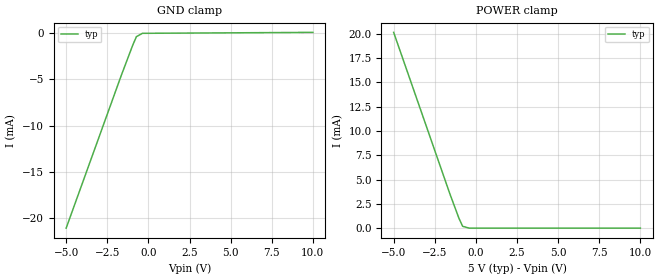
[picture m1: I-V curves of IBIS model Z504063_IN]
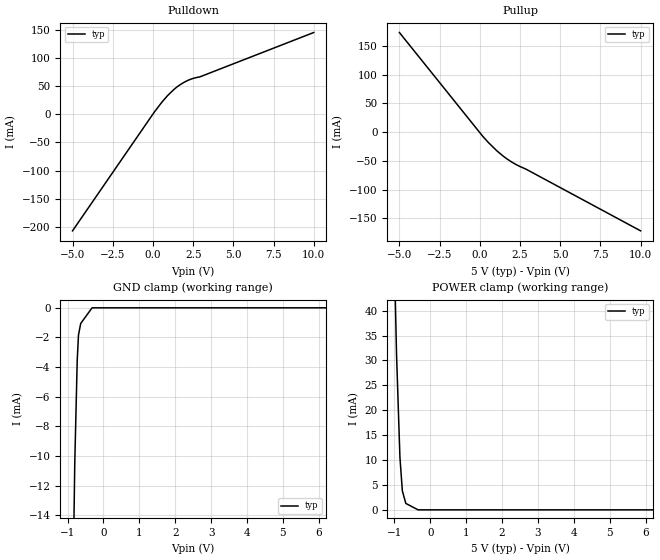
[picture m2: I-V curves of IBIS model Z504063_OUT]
| YOU ARE ONLY AUTHORIZED TO USE THIS SOFTWARE
| ACCORDING TO LICENSOR'S LICENSE RESTRICTIONS.
[IBIS Ver] 3.1
[File Name] mc54hc151j.ibs
[File Rev] 2.0
[Source] Measured and created by ICX Technology
[Date] Friday 7/14/00 9:08:06 AM
[Copyright]
| (C) COPYRIGHT 1993-2000
| MENTOR GRAPHICS CORPORATION
| ICX STANDARD LIBRARY, ICX PROJECT MODELING,
| ICX CUSTOM MODELING, ICX VENDOR MODEL
| ALL RIGHTS RESERVED.
| THE FOLLOWING ARE TRADEMARKS OR SERVICE MARKS OF
| MENTOR GRAPHICS CORPORATION:ICX (R), ICX STANDARD
| LIBRARY(R), ICX PROJECT MODELING(R), ICX CUSTOM
| MODELING(R), qualityIBIS(TM), MODELVIEWER(TM),
| AND MODELEDITOR(TM)
| ALL COPIES OF SOFTWARE, INCLUDING BUT NOT LIMITED TO
| ANY MODIFICATIONS, ENHANCEMENTS OR DERIVATIVE WORKS,
| MUST CONTAIN ALL MENTOR GRAPHICS CORPORATION'S
| NOTICES AND LEGENDS, INCLUDING THOSE EMBEDDED IN
| SOFTWARE AND THOSE AFFIXED TO SOFTWARE MEDIUM
| AND CONTAINER, AS RECEIVED FROM MENTOR GRAPHICS
| CORPORATION.
|  ZAP Model Builder 2.7
[Component] MC54HC151J
[Manufacturer] OnSemiconductor
[Package]
| variable   typ   min   max
R_pkg  .212ohms NA NA
L_pkg  4.758nH NA NA
C_pkg  1.944pF NA NA
[Pin] signal_name  model_name  R_pin  L_pin C_pin
1 D3 Z504063_IN .224 7.258n 2.683p
2 D2 Z504063_IN .216 5.258n 2.19p
3 D1 Z504063_IN .208 3.758n 1.697p
4 D0 Z504063_IN .2 2.758n 1.204p
5 Y Z504063_OUT .2 2.758n 1.204p
6 _Y Z504063_OUT .208 3.758n 1.697p
7 _G Z504063_IN .216 5.258n 2.19p
8 GND GND .224 7.258n 2.683p
9 C Z504063_IN .224 7.258n 2.683p
10 B Z504063_IN .216 5.258n 2.19p
11 A Z504063_IN .208 3.758n 1.697p
12 D7 Z504063_IN .2 2.758n 1.204p
13 D6 Z504063_IN .2 2.758n 1.204p
14 D5 Z504063_IN .208 3.758n 1.697p
15 D4 Z504063_IN .216 5.258n 2.19p
16 VCC POWER .224 7.258n 2.683p
| Models and submodels in the file (2): Z504063_IN (Input), Z504063_OUT (Output)
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| (C) COPYRIGHT 1993-2000
| MENTOR GRAPHICS CORPORATION
| ICX STANDARD LIBRARY, ICX PROJECT MODELING,
| ICX CUSTOM MODELING, ICX VENDOR MODEL
| ALL RIGHTS RESERVED.
| THE FOLLOWING ARE TRADEMARKS OR SERVICE MARKS OF
| MENTOR GRAPHICS CORPORATION:ICX (R), ICX STANDARD
| LIBRARY(R), ICX PROJECT MODELING(R), ICX CUSTOM
| MODELING(R), qualityIBIS(TM), MODELVIEWER(TM),
| AND MODELEDITOR(TM)
| ALL COPIES OF SOFTWARE, INCLUDING BUT NOT LIMITED TO
| ANY MODIFICATIONS, ENHANCEMENTS OR DERIVATIVE WORKS,
| MUST CONTAIN ALL MENTOR GRAPHICS CORPORATION'S
| NOTICES AND LEGENDS, INCLUDING THOSE EMBEDDED IN
| SOFTWARE AND THOSE AFFIXED TO SOFTWARE MEDIUM
| AND CONTAINER, AS RECEIVED FROM MENTOR GRAPHICS
| CORPORATION.
| Model Application Version 1.89 2/18/99.
[Model] Z504063_IN
Model_type Input
Vinl = 1.000V
Vinh = 3.500V
C_comp 4.000pF NA NA
| variable typ   min   max
[Voltage Range] 5.000V NA NA
[GND Clamp Reference] 0.000V NA NA
[POWER Clamp Reference] 5.000V NA NA
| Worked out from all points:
|   GND clamp passes 1 mA (typ) near -0.87 V on its own axis
|   POWER clamp passes 1 mA (typ) near -1.03 V on its own axis
[GND Clamp]
-5V       -21.09mA   NA         NA
-1.621V   -4.453mA   NA         NA
-936.7mV  -1.253mA   NA         NA
-726.5mV  -395.5uA   NA         NA
-363.2mV  -39.71uA   NA         NA
10V       63.15uA    NA         NA
[POWER Clamp]
-5V       20.16mA    NA         NA
-1.592V   3.579mA    NA         NA
-1.04V    1.055mA    NA         NA
-809mV    192.3uA    NA         NA
-404.5mV  0A         NA         NA
10V       0A         NA         NA
| (C) COPYRIGHT 1993-2000
| MENTOR GRAPHICS CORPORATION
| ICX STANDARD LIBRARY, ICX PROJECT MODELING,
| ICX CUSTOM MODELING, ICX VENDOR MODEL
| ALL RIGHTS RESERVED.
| THE FOLLOWING ARE TRADEMARKS OR SERVICE MARKS OF
| MENTOR GRAPHICS CORPORATION:ICX (R), ICX STANDARD
| LIBRARY(R), ICX PROJECT MODELING(R), ICX CUSTOM
| MODELING(R), qualityIBIS(TM), MODELVIEWER(TM),
| AND MODELEDITOR(TM)
| ALL COPIES OF SOFTWARE, INCLUDING BUT NOT LIMITED TO
| ANY MODIFICATIONS, ENHANCEMENTS OR DERIVATIVE WORKS,
| MUST CONTAIN ALL MENTOR GRAPHICS CORPORATION'S
| NOTICES AND LEGENDS, INCLUDING THOSE EMBEDDED IN
| SOFTWARE AND THOSE AFFIXED TO SOFTWARE MEDIUM
| AND CONTAINER, AS RECEIVED FROM MENTOR GRAPHICS
| CORPORATION.
| Model Application Version 1.89 2/18/99.
[Model] Z504063_OUT
Model_type Output
Vref=0.000V
Rref=500.0Mohms
Cref=50.00pF
Vmeas=2.500V
C_comp 8.000pF NA NA
| variable typ   min   max
[Voltage Range] 5.000V NA NA
[POWER Clamp Reference] 5.000V NA NA
[Pullup Reference] 5.000V NA NA
[Pulldown Reference] 0.000V NA NA
[GND Clamp Reference] 0.000V NA NA
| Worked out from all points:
|   slope of the pulldown table from 0 to 0.75 V, typ, clamps not added: 27.3 ohm
|   slope of the pullup table from 0 to 0.75 V, typ, clamps not added: 32.4 ohm
[GND Clamp]
-5V       -713.2mA   NA         NA
-800.7mV  -10.48mA   NA         NA
-732.5mV  -3.56mA    NA         NA
-697.6mV  -1.846mA   NA         NA
-635.3mV  -1.056mA   NA         NA
-317.6mV  0A         NA         NA
10V       0A         NA         NA
[Pulldown]
-5V       -207mA     NA         NA
83.01mV   3.476mA    NA         NA
566.4mV   21.51mA    NA         NA
1.316V    43.96mA    NA         NA
1.705V    52.36mA    NA         NA
2.314V    61.45mA    NA         NA
2.891V    65.73mA    NA         NA
10V       144.7mA    NA         NA
[Pullup]
-5V       173.4mA    NA         NA
176mV     -7.081mA   NA         NA
527mV     -17.99mA   NA         NA
1.065V    -32.74mA   NA         NA
1.475V    -42.31mA   NA         NA
1.67V     -46.36mA   NA         NA
1.983V    -52.13mA   NA         NA
2.256V    -56.55mA   NA         NA
2.471V    -59.61mA   NA         NA
2.867V    -64.48mA   NA         NA
10V       -172mA     NA         NA
[POWER Clamp]
-5V       1.328A     NA         NA
-943mV    31.21mA    NA         NA
-849mV    10.62mA    NA         NA
-781mV    3.808mA    NA         NA
-684mV    1.29mA     NA         NA
-342mV    0A         NA         NA
10V       0A         NA         NA
[Ramp]
| variable typ min max
dV/dt_r 2.848/2.499n NA NA
dV/dt_f 2.848/2.232n NA NA
R_load = 500.0Ohms
